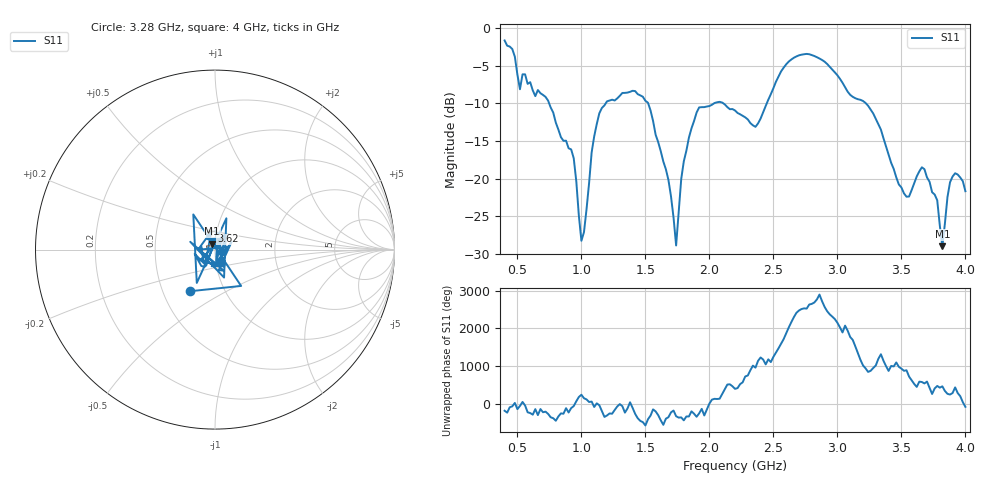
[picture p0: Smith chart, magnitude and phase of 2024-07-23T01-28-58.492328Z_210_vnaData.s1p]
!Created with skrf (http://scikit-rf.org).
# Hz S RI R 50.0
!freq ReS11 ImS11
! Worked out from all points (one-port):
!   181 points, 400 MHz to 4 GHz, reference 50 ohm
!   lowest |S11| = -29.0 dB at 3.82 GHz (marker M1), VSWR 1.07, Z = 48.4 + j3.12 ohm
!   |S11| at or under -10 dB: 747.9 MHz to 1.19 GHz (442.2 MHz wide, 45.6 % of centre); 1.522 GHz to 2.036 GHz (514.5 MHz wide, 28.9 % of centre); 3.223 GHz to end of sweep (the widest 3 of 4)
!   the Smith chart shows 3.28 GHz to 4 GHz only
!   S11 on the Smith chart (normalised r, x): 3.28 GHz: 0.69, -0.34; 3.62 GHz: 0.94, +0.19; 4 GHz: 1.06, -0.16
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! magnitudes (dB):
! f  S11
! 400 MHz  -1.7
! 480 MHz  -3.8
! 520 MHz  -8.1
! 560 MHz  -6.1
! 720 MHz  -9.1
! 860 MHz  -15.0
! 940 MHz  -17.3
! 1 GHz  -28.2
! 1.14 GHz  -11.3
! 1.3 GHz  -9.0
! 1.52 GHz  -9.9
! 1.68 GHz  -20.2
! 1.74 GHz  -28.9
! 1.76 GHz  -24.5
! 1.8 GHz  -17.7
! 1.92 GHz  -10.5
! 2.2 GHz  -10.9
! 2.36 GHz  -13.1
! 2.66 GHz  -3.9
! 2.88 GHz  -4.2
! 3.1 GHz  -8.9
! 3.28 GHz  -11.3
! 3.56 GHz  -22.4
! 3.62 GHz  -19.7
! 3.78 GHz  -22.9
! 3.82 GHz  -29.0
! 3.88 GHz  -20.5
! 4 GHz  -21.7
